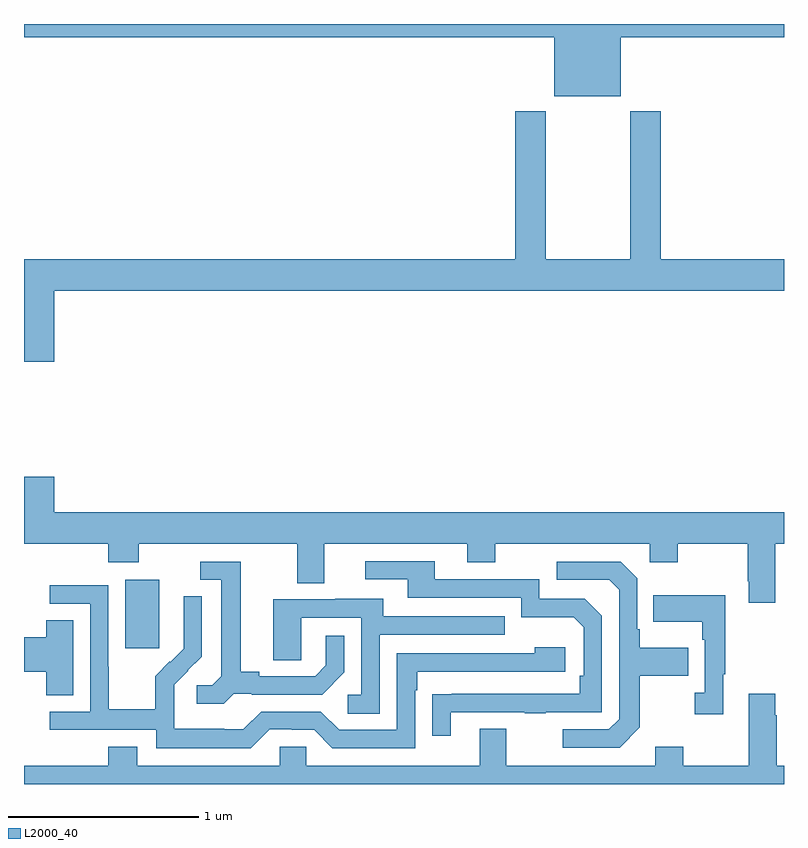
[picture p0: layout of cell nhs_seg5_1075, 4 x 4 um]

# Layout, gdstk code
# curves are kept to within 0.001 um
import gdstk
lib = gdstk.Library(unit=1e-6, precision=1e-09)
def R(c, l, rs):  # rectangles x0, y0, x1, y1
    for r in rs: c.add(gdstk.rectangle(r[:2], r[2:], *l))
def P(c, l, *ps):  # polygons
    for p in ps: c.add(gdstk.Polygon(p, *l))
L2000_40 = (2000, 40)

nhs_seg5_1075 = lib.new_cell('nhs_seg5_1075')
R(nhs_seg5_1075, L2000_40, [(177.533,885.513,177.712,885.874)])
P(nhs_seg5_1075, L2000_40, [(180.142,888.728),(181,888.728),(181,888.799),(177,888.799),(177,888.728),(179.792,888.728),(179.792,888.419),(180.142,888.419)],
  [(177.16,887.396),(181,887.396),(181,887.56),(180.35,887.56),(180.35,888.34),(180.19,888.34),(180.19,887.56),(179.745,887.56),(179.745,888.34),(179.585,888.34),(179.585,887.56),(177,887.56),(177,887.022),(177.16,887.022)],
  [(177.16,886.417),(177,886.417),(177,886.064),(177.443,886.064),(177.443,885.965),(177.603,885.965),(177.603,886.064),(178.439,886.064),(178.439,885.856),(178.579,885.856),(178.579,886.064),(179.333,886.064),(179.333,885.965),(179.481,885.965),(179.481,886.064),(180.294,886.064),(180.294,885.965),(180.441,885.965),(180.441,886.064),(180.808,886.064),(180.808,885.865),(180.815,885.865),(180.815,885.753),(180.955,885.753),(180.955,886.064),(181,886.064),(181,886.228),(177.16,886.228)],
  [(179.245,885.177),(179.635,885.177),(179.635,885.172),(179.747,885.172),(179.747,885.177),(180.042,885.177),(180.042,885.684),(179.952,885.774),(179.712,885.774),(179.712,885.876),(179.161,885.876),(179.161,885.972),(178.797,885.972),(178.797,885.876),(179.021,885.876),(179.021,885.78),(179.616,885.78),(179.616,885.677),(179.893,885.677),(179.946,885.624),(179.946,885.37),(179.926,885.37),(179.926,885.273),(179.149,885.272),(179.149,885.054),(179.245,885.054)],
  [(180.241,885.097),(180.241,885.37),(180.497,885.37),(180.497,885.517),(180.241,885.517),(180.241,885.613),(180.228,885.613),(180.228,885.882),(180.141,885.969),(179.805,885.969),(179.805,885.873),(180.081,885.873),(180.132,885.822),(180.132,885.141),(180.078,885.087),(179.835,885.087),(179.835,884.991),(180.135,884.991)],
  [(178.104,885.273),(178.198,885.273),(178.198,885.27),(178.57,885.27),(178.686,885.386),(178.686,885.58),(178.589,885.58),(178.589,885.423),(178.532,885.366),(178.237,885.366),(178.237,885.389),(178.141,885.389),(178.141,885.969),(177.927,885.969),(177.927,885.873),(178.037,885.873),(178.037,885.365),(177.99,885.318),(177.909,885.318),(177.909,885.221),(178.052,885.221)],
  [(178.293,885.087),(178.409,885.087),(178.409,885.084),(178.527,885.084),(178.623,884.988),(179.058,884.988),(179.058,885.293),(179.071,885.293),(179.071,885.39),(179.848,885.39),(179.848,885.52),(179.687,885.52),(179.687,885.486),(178.962,885.486),(178.962,885.084),(178.659,885.084),(178.563,885.18),(178.248,885.18),(178.155,885.087),(178.055,885.087),(178.055,885.091),(177.792,885.091),(177.792,885.225),(177.79,885.225),(177.79,885.322),(177.936,885.47),(177.936,885.788),(177.84,885.788),(177.84,885.634),(177.842,885.634),(177.842,885.512),(177.771,885.441),(177.768,885.444),(177.691,885.367),(177.691,885.193),(177.447,885.193),(177.447,885.416),(177.444,885.416),(177.444,885.846),(177.135,885.846),(177.135,885.747),(177.348,885.747),(177.348,885.18),(177.135,885.18),(177.135,885.084),(177.696,885.084),(177.696,884.987),(178.193,884.987)],
  [(180.679,885.377),(180.691,885.377),(180.691,885.793),(180.313,885.793),(180.313,885.653),(180.57,885.653),(180.57,885.557),(180.582,885.557),(180.582,885.278),(180.531,885.278),(180.531,885.165),(180.679,885.165)],
  [(178.872,885.585),(179.531,885.585),(179.531,885.681),(178.891,885.681),(178.891,885.775),(178.637,885.775),(178.637,885.771),(178.313,885.771),(178.313,885.451),(178.458,885.451),(178.458,885.675),(178.776,885.675),(178.776,885.27),(178.704,885.27),(178.704,885.169),(178.872,885.169)],
  [(177.259,885.662),(177.116,885.662),(177.116,885.572),(177,885.572),(177,885.389),(177.116,885.389),(177.116,885.265),(177.259,885.265)],
  [(181,884.896),(180.963,884.896),(180.963,885.161),(180.955,885.161),(180.955,885.274),(180.815,885.274),(180.815,884.896),(180.471,884.896),(180.471,884.995),(180.323,884.995),(180.323,884.896),(179.539,884.896),(179.539,885.091),(179.399,885.091),(179.399,884.896),(178.485,884.896),(178.485,884.994),(178.347,884.994),(178.347,884.896),(177.595,884.896),(177.595,884.995),(177.443,884.995),(177.443,884.896),(177,884.896),(177,884.799),(181,884.799)])

lib.write_gds('nhs_seg5_1075.gds')
